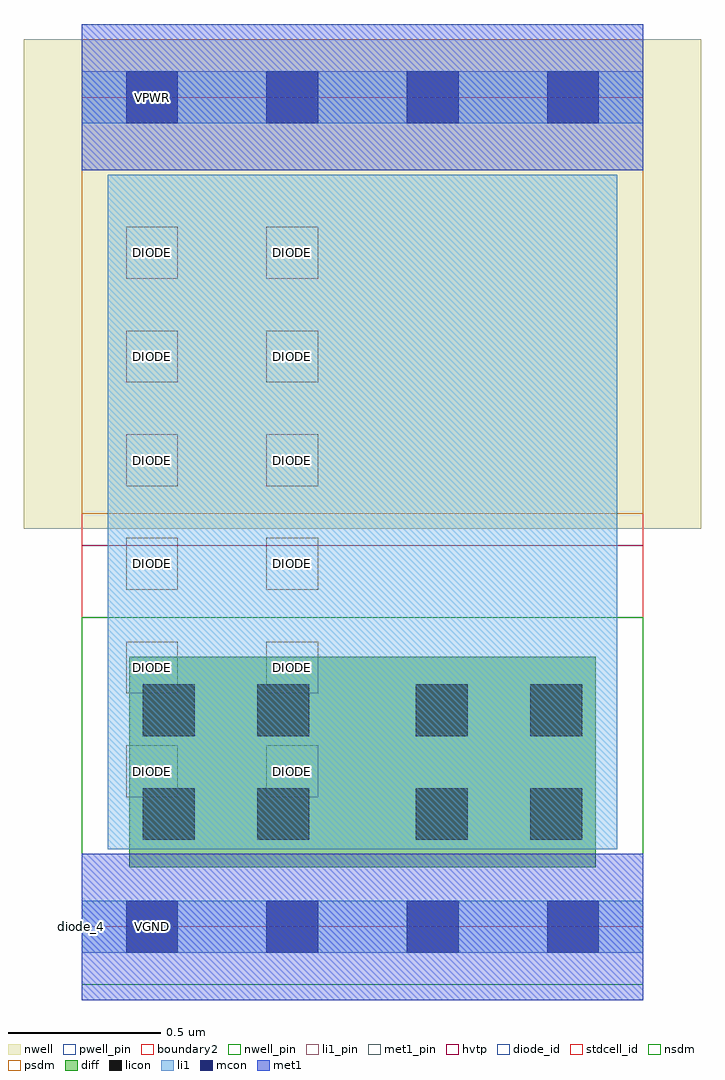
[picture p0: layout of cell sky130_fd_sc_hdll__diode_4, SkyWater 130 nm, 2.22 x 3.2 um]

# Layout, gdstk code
import gdstk
lib = gdstk.Library(unit=1e-6, precision=1e-09)
def R(c, l, rs):  # rectangles x0, y0, x1, y1
    for r in rs: c.add(gdstk.rectangle(r[:2], r[2:], *l))
def A(c, l, x, y, w, h, nx, ny, dx, dy):  # array of equal rectangles
    R(c, l, [(x+i*dx, y+j*dy, x+i*dx+w, y+j*dy+h) for i in range(nx) for j in range(ny)])
nwell_pin = (64, 16)
nwell = (64, 20)
diff = (65, 20)
licon = (66, 44)
li1_pin = (67, 16)
li1 = (67, 20)
mcon = (67, 44)
met1_pin = (68, 16)
met1 = (68, 20)
hvtp = (78, 44)
stdcell_id = (81, 4)
diode_id = (81, 23)
nsdm = (93, 44)
psdm = (94, 20)
pwell_pin = (122, 16)
boundary2 = (236, 0)

sky130_fd_sc_hdll__diode = lib.new_cell('sky130_fd_sc_hdll__diode_4')
R(sky130_fd_sc_hdll__diode, nwell_pin, [(0.145,2.635,0.315,2.805)])
R(sky130_fd_sc_hdll__diode, nwell, [(-0.19,1.305,2.03,2.91)])
R(sky130_fd_sc_hdll__diode, diff, [(0.155,0.195,1.685,0.885)])
R(sky130_fd_sc_hdll__diode, licon, [(0.2,0.285,0.37,0.455), (0.575,0.285,0.745,0.455), (1.095,0.285,1.265,0.455), (1.47,0.285,1.64,0.455), (0.2,0.625,0.37,0.795), (0.575,0.625,0.745,0.795), (1.095,0.625,1.265,0.795), (1.47,0.625,1.64,0.795)])
A(sky130_fd_sc_hdll__diode, li1_pin, 0.145, 0.425, 0.17, 0.17, 1, 6, 0, 0.34)
A(sky130_fd_sc_hdll__diode, li1_pin, 0.605, 0.425, 0.17, 0.17, 1, 6, 0, 0.34)
R(sky130_fd_sc_hdll__diode, li1, [(0,-0.085,1.84,0.085), (0.085,0.255,1.755,2.465), (0,2.635,1.84,2.805)])
A(sky130_fd_sc_hdll__diode, mcon, 0.145, -0.085, 0.17, 0.17, 4, 2, 0.46, 2.72)
R(sky130_fd_sc_hdll__diode, met1_pin, [(0.145,-0.085,0.315,0.085), (0.145,2.635,0.315,2.805)])
R(sky130_fd_sc_hdll__diode, met1, [(0,-0.24,1.84,0.24), (0,2.48,1.84,2.96)])
R(sky130_fd_sc_hdll__diode, hvtp, [(0,1.25,1.84,2.72)])
R(sky130_fd_sc_hdll__diode, stdcell_id, [(0,0,1.84,2.72)])
R(sky130_fd_sc_hdll__diode, diode_id, [(0.155,0.195,1.685,0.885)])
R(sky130_fd_sc_hdll__diode, nsdm, [(0,-0.19,1.84,1.015)])
R(sky130_fd_sc_hdll__diode, psdm, [(0,1.355,1.84,2.91)])
R(sky130_fd_sc_hdll__diode, pwell_pin, [(0.145,-0.085,0.315,0.085)])
R(sky130_fd_sc_hdll__diode, boundary2, [(0,0,1.84,2.72)])
sky130_fd_sc_hdll__diode.add(gdstk.Label('DIODE', (0.69,0.51), layer=67, texttype=5))
sky130_fd_sc_hdll__diode.add(gdstk.Label('DIODE', (0.69,1.87), layer=67, texttype=5))
sky130_fd_sc_hdll__diode.add(gdstk.Label('DIODE', (0.23,1.87), layer=67, texttype=5))
sky130_fd_sc_hdll__diode.add(gdstk.Label('DIODE', (0.69,2.21), layer=67, texttype=5))
sky130_fd_sc_hdll__diode.add(gdstk.Label('DIODE', (0.23,2.21), layer=67, texttype=5))
sky130_fd_sc_hdll__diode.add(gdstk.Label('DIODE', (0.23,1.53), layer=67, texttype=5))
sky130_fd_sc_hdll__diode.add(gdstk.Label('DIODE', (0.69,1.53), layer=67, texttype=5))
sky130_fd_sc_hdll__diode.add(gdstk.Label('DIODE', (0.23,1.19), layer=67, texttype=5))
sky130_fd_sc_hdll__diode.add(gdstk.Label('DIODE', (0.69,1.19), layer=67, texttype=5))
sky130_fd_sc_hdll__diode.add(gdstk.Label('DIODE', (0.69,0.85), layer=67, texttype=5))
sky130_fd_sc_hdll__diode.add(gdstk.Label('DIODE', (0.23,0.85), layer=67, texttype=5))
sky130_fd_sc_hdll__diode.add(gdstk.Label('DIODE', (0.23,0.51), layer=67, texttype=5))
sky130_fd_sc_hdll__diode.add(gdstk.Label('VGND', (0.23,0), layer=68, texttype=5))
sky130_fd_sc_hdll__diode.add(gdstk.Label('VPWR', (0.23,2.72), layer=68, texttype=5))
sky130_fd_sc_hdll__diode.add(gdstk.Label('VPB', (0.23,2.72), layer=64, texttype=5))
sky130_fd_sc_hdll__diode.add(gdstk.Label('VNB', (0.23,0), layer=64, texttype=59))
sky130_fd_sc_hdll__diode.add(gdstk.Label('diode_4', (0,0), layer=83, texttype=44))

lib.write_gds('sky130_fd_sc_hdll__diode_4.gds')
